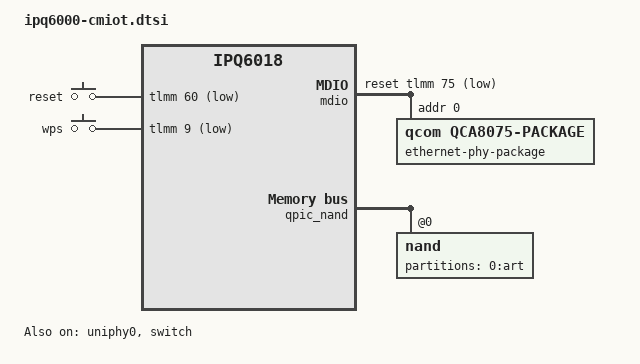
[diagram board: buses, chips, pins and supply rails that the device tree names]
// SPDX-License-Identifier: GPL-2.0-or-later OR MIT

#include "ipq6018.dtsi"
#include "ipq6018-ess.dtsi"
#include "ipq6018-nss.dtsi"
#include "ipq6018-common.dtsi"

#include <dt-bindings/gpio/gpio.h>
#include <dt-bindings/input/input.h>
#include <dt-bindings/leds/common.h>

/ {
	aliases {
		label-mac-device = &swport1;

		serial0 = &blsp1_uart3;
	};

	chosen {
		stdout-path = "serial0:115200n8";
		bootargs-append = " root=/dev/ubiblock0_1";
	};

	keys {
		compatible = "gpio-keys";

		reset {
			label = "reset";
			gpios = <&tlmm 60 GPIO_ACTIVE_LOW>;
			linux,code = <KEY_RESTART>;
		};

		wps {
			label = "wps";
			gpios = <&tlmm 9 GPIO_ACTIVE_LOW>;
			linux,code = <KEY_WPS_BUTTON>;
		};
	};
};

&mdio {
	status = "okay";

	pinctrl-0 = <&mdio_pins>;
	pinctrl-names = "default";
	reset-gpios = <&tlmm 75 GPIO_ACTIVE_LOW>;

	ethernet-phy-package@0 {
		compatible = "qcom,qca8075-package";
		qcom,package-mode = "psgmii";
		#address-cells = <1>;
		#size-cells = <0>;
		reg = <0>;

		qca8075_0: ethernet-phy@0 {
			compatible = "ethernet-phy-ieee802.3-c22";
			reg = <0>;
		};

		qca8075_1: ethernet-phy@1 {
			compatible = "ethernet-phy-ieee802.3-c22";
			reg = <1>;
		};

		qca8075_3: ethernet-phy@3 {
			compatible = "ethernet-phy-ieee802.3-c22";
			reg = <3>;
		};

		qca8075_4: ethernet-phy@4 {
			compatible = "ethernet-phy-ieee802.3-c22";
			reg = <4>;
		};
	};
};

&uniphy0 {
	status = "okay";
};

&switch {
	status = "okay";

	ports {
		#address-cells = <1>;
		#size-cells = <0>;

		port@0 {
			reg = <0>;
			ethernet = <&edma>;
			phy-mode = "internal";

			fixed-link {
				speed = <1000>;
				full-duplex;
			};
		};

		swport1: port@1 {
			reg = <1>;
			label = "lan3";
			phy-handle = <&qca8075_0>;
			phy-mode = "psgmii";
			pcs-handle = <&uniphy0 0>;
			nvmem-cells = <&macaddr_lan>;
			nvmem-cell-names = "mac-address";
		};

		swport2: port@2 {
			reg = <2>;
			label = "lan2";
			phy-handle = <&qca8075_1>;
			phy-mode = "psgmii";
			pcs-handle = <&uniphy0 1>;
			nvmem-cells = <&macaddr_lan>;
			nvmem-cell-names = "mac-address";
		};

		swport4: port@4 {
			reg = <4>;
			label = "lan1";
			phy-handle = <&qca8075_3>;
			phy-mode = "psgmii";
			pcs-handle = <&uniphy0 3>;
			nvmem-cells = <&macaddr_lan>;
			nvmem-cell-names = "mac-address";
		};

		swport5: port@5 {
			reg = <5>;
			label = "wan";
			phy-handle = <&qca8075_4>;
			phy-mode = "psgmii";
			pcs-handle = <&uniphy0 4>;
			nvmem-cells = <&macaddr_wan>;
			nvmem-cell-names = "mac-address";
		};
	};
};

&qpic_nand {
	status = "okay";

	nand@0 {
		reg = <0>;

		nand-ecc-strength = <4>;
		nand-ecc-step-size = <512>;
		nand-bus-width = <8>;

		partitions {
			compatible = "qcom,smem-part";

			partition-0-art {
				label = "0:art";
				read-only;

				nvmem-layout {
					compatible = "fixed-layout";
					#address-cells = <1>;
					#size-cells = <1>;

					macaddr_wan: macaddr@0 {
						reg = <0x0 0x6>;
					};

					macaddr_lan: macaddr@6 {
						reg = <0x6 0x6>;
					};
				};
			};
		};
	};
};

&edma {
	status = "okay";
};
